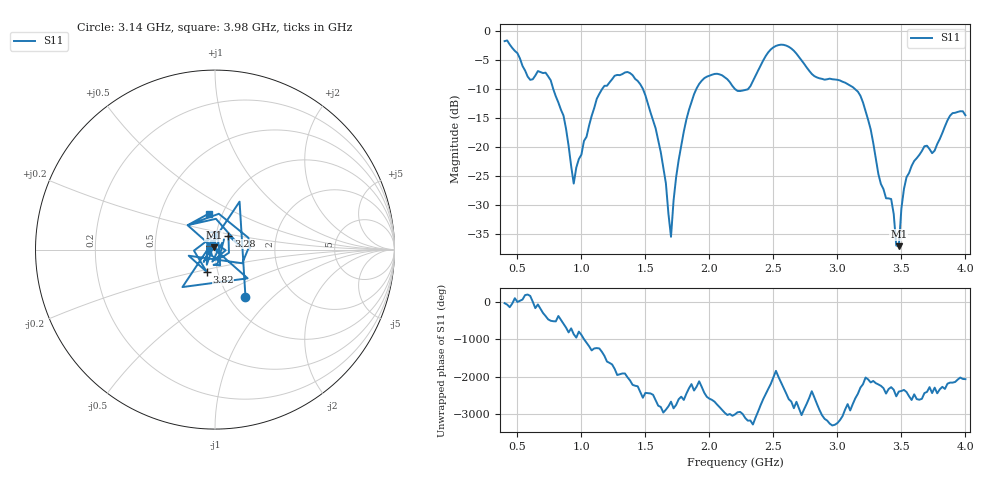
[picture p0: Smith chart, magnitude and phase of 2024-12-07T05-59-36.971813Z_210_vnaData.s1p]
!Created with skrf (http://scikit-rf.org).
# Hz S RI R 50.0
!freq ReS11 ImS11
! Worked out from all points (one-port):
!   181 points, 400 MHz to 4 GHz, reference 50 ohm
!   lowest |S11| = -37.1 dB at 3.48 GHz (marker M1), VSWR 1.03, Z = 49.2 + j1.15 ohm
!   |S11| at or under -10 dB: 780.1 MHz to 1.162 GHz (382 MHz wide, 39.3 % of centre); 1.481 GHz to 1.898 GHz (417 MHz wide, 24.7 % of centre); 3.137 GHz to end of sweep (the widest 3 of 4)
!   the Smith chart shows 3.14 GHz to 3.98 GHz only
!   S11 on the Smith chart (normalised r, x): 3.14 GHz: 1.19, -0.70; 3.28 GHz: 1.15, +0.18; 3.82 GHz: 0.88, -0.22; 3.98 GHz: 0.86, +0.36
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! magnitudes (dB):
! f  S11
! 400 MHz  -1.7
! 600 MHz  -8.4
! 720 MHz  -7.2
! 860 MHz  -14.6
! 940 MHz  -26.3
! 1.12 GHz  -11.7
! 1.3 GHz  -7.6
! 1.5 GHz  -11.1
! 1.62 GHz  -20.9
! 1.7 GHz  -35.5
! 1.76 GHz  -22.2
! 1.92 GHz  -9.1
! 2.2 GHz  -10.0
! 2.3 GHz  -10.1
! 2.5 GHz  -2.8
! 2.66 GHz  -3.4
! 3.1 GHz  -9.4
! 3.14 GHz  -10.1
! 3.28 GHz  -19.3
! 3.34 GHz  -26.4
! 3.42 GHz  -29.0
! 3.46 GHz  -37.0
! 3.48 GHz  -37.1
! 3.52 GHz  -27.2
! 3.56 GHz  -24.5
! 3.82 GHz  -17.6
! 3.98 GHz  -13.8
! 4 GHz  -14.5
